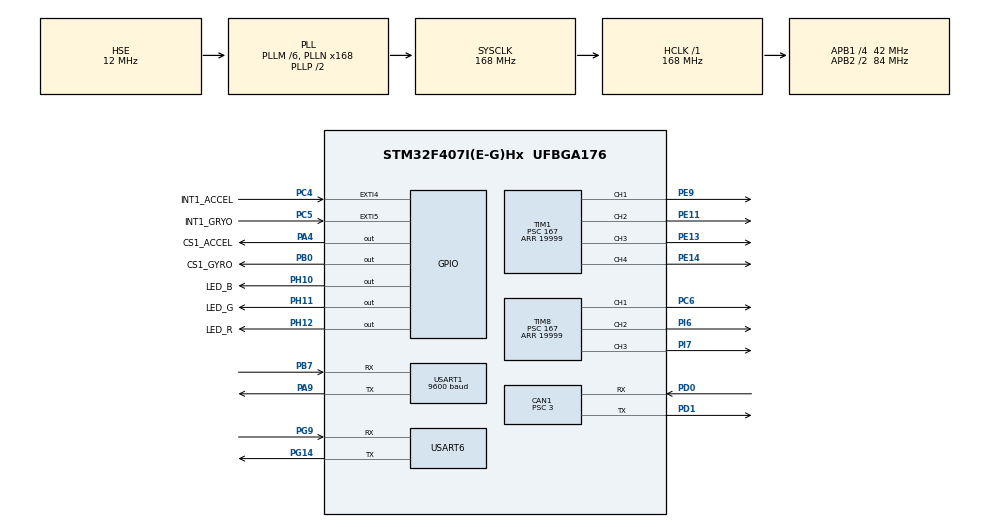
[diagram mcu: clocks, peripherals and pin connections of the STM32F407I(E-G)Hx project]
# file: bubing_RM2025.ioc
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CAN1.BS1=CAN_BS1_10TQ
CAN1.BS2=CAN_BS2_3TQ
CAN1.CalculateBaudRate=1000000
CAN1.CalculateTimeBit=1000
CAN1.CalculateTimeQuantum=71.42857142857143
CAN1.Prescaler=3
Dma.Request0=USART6_TX
Dma.Request1=USART6_RX
Dma.Request2=USART1_RX
Dma.USART1_RX.2.Direction=DMA_PERIPH_TO_MEMORY
Dma.USART1_RX.2.FIFOMode=DMA_FIFOMODE_DISABLE
Dma.USART1_RX.2.Instance=DMA2_Stream2
Dma.USART1_RX.2.MemDataAlignment=DMA_MDATAALIGN_BYTE
Dma.USART1_RX.2.MemInc=DMA_MINC_ENABLE
Dma.USART1_RX.2.Mode=DMA_NORMAL
Dma.USART1_RX.2.PeriphDataAlignment=DMA_PDATAALIGN_BYTE
Dma.USART1_RX.2.PeriphInc=DMA_PINC_DISABLE
Dma.USART1_RX.2.Priority=DMA_PRIORITY_VERY_HIGH
Dma.USART6_RX.1.Direction=DMA_PERIPH_TO_MEMORY
Dma.USART6_RX.1.FIFOMode=DMA_FIFOMODE_DISABLE
Dma.USART6_RX.1.Instance=DMA2_Stream1
Dma.USART6_RX.1.MemDataAlignment=DMA_MDATAALIGN_BYTE
Dma.USART6_RX.1.MemInc=DMA_MINC_ENABLE
Dma.USART6_RX.1.Mode=DMA_CIRCULAR
Dma.USART6_RX.1.PeriphDataAlignment=DMA_PDATAALIGN_BYTE
Dma.USART6_RX.1.PeriphInc=DMA_PINC_DISABLE
Dma.USART6_RX.1.Priority=DMA_PRIORITY_MEDIUM
Dma.USART6_TX.0.Direction=DMA_MEMORY_TO_PERIPH
Dma.USART6_TX.0.FIFOMode=DMA_FIFOMODE_DISABLE
Dma.USART6_TX.0.Instance=DMA2_Stream6
Dma.USART6_TX.0.MemDataAlignment=DMA_MDATAALIGN_BYTE
Dma.USART6_TX.0.MemInc=DMA_MINC_ENABLE
Dma.USART6_TX.0.Mode=DMA_CIRCULAR
Dma.USART6_TX.0.PeriphDataAlignment=DMA_PDATAALIGN_BYTE
Dma.USART6_TX.0.PeriphInc=DMA_PINC_DISABLE
Dma.USART6_TX.0.Priority=DMA_PRIORITY_MEDIUM
Mcu.Family=STM32F4
Mcu.Name=STM32F407I(E-G)Hx
Mcu.Package=UFBGA176
NVIC.CAN1_RX0_IRQn=true\:0\:0\:false\:false\:true\:true\:true\:true
NVIC.CAN1_RX1_IRQn=true\:0\:0\:false\:false\:true\:true\:true\:true
NVIC.CAN1_TX_IRQn=true\:0\:0\:false\:false\:true\:true\:true\:true
NVIC.DMA2_Stream1_IRQn=true\:0\:0\:false\:false\:true\:false\:true\:true
NVIC.DMA2_Stream2_IRQn=true\:0\:0\:false\:false\:true\:false\:true\:true
NVIC.DMA2_Stream6_IRQn=true\:0\:0\:false\:false\:true\:false\:true\:true
NVIC.PriorityGroup=NVIC_PRIORITYGROUP_4
NVIC.TIM7_IRQn=true\:15\:0\:false\:false\:true\:false\:true\:true
NVIC.TIM8_BRK_TIM12_IRQn=true\:0\:0\:false\:false\:true\:true\:true\:true
NVIC.TimeBase=TIM7_IRQn
NVIC.TimeBaseIP=TIM7
NVIC.USART1_IRQn=true\:0\:0\:false\:false\:true\:true\:true\:true
NVIC.USART6_IRQn=true\:0\:0\:false\:false\:true\:true\:true\:true
PA13.Mode=Serial_Wire
PA13.Signal=SYS_JTMS-SWDIO
PA14.Mode=Serial_Wire
PA14.Signal=SYS_JTCK-SWCLK
PA4.GPIO_Label=CS1_ACCEL
PA4.GPIO_PuPd=GPIO_PULLUP
PA4.GPIO_Speed=GPIO_SPEED_FREQ_HIGH
PA4.PinState=GPIO_PIN_SET
PA4.Signal=GPIO_Output
PA9.Mode=Asynchronous
PA9.Signal=USART1_TX
PB0.GPIO_Label=CS1_GYRO
PB0.GPIO_PuPd=GPIO_PULLUP
PB0.GPIO_Speed=GPIO_SPEED_FREQ_HIGH
PB0.PinState=GPIO_PIN_SET
PB0.Signal=GPIO_Output
PB7.Mode=Asynchronous
PB7.Signal=USART1_RX
PC4.GPIO_Label=INT1_ACCEL
PC4.GPIO_PuPd=GPIO_PULLUP
PC4.Signal=GPXTI4
PC5.GPIO_Label=INT1_GRYO
PC5.GPIO_PuPd=GPIO_PULLUP
PC5.Signal=GPXTI5
PC6.Signal=S_TIM8_CH1
PD0.Mode=CAN_Activate
PD0.Signal=CAN1_RX
PD1.Mode=CAN_Activate
PD1.Signal=CAN1_TX
PE11.Signal=S_TIM1_CH2
PE13.Signal=S_TIM1_CH3
PE14.Signal=S_TIM1_CH4
PE9.Signal=S_TIM1_CH1
PG14.Mode=Asynchronous
PG14.Signal=USART6_TX
PG9.Mode=Asynchronous
PG9.Signal=USART6_RX
PH0-OSC_IN.Mode=HSE-External-Oscillator
PH0-OSC_IN.Signal=RCC_OSC_IN
PH1-OSC_OUT.Mode=HSE-External-Oscillator
PH1-OSC_OUT.Signal=RCC_OSC_OUT
PH10.GPIO_Label=LED_B
PH10.Signal=GPIO_Output
PH11.GPIO_Label=LED_G
PH11.Signal=GPIO_Output
PH12.GPIO_Label=LED_R
PH12.Signal=GPIO_Output
PI6.Signal=S_TIM8_CH2
PI7.Signal=S_TIM8_CH3
ProjectManager.HeapSize=0x200
ProjectManager.StackSize=0x400
ProjectManager.TargetToolchain=MDK-ARM V5.32
RCC.48MHZClocksFreq_Value=84000000
RCC.AHBFreq_Value=168000000
RCC.APB1CLKDivider=RCC_HCLK_DIV4
RCC.APB1Freq_Value=42000000
RCC.APB1TimFreq_Value=84000000
RCC.APB2CLKDivider=RCC_HCLK_DIV2
RCC.APB2Freq_Value=84000000
RCC.APB2TimFreq_Value=168000000
RCC.CortexFreq_Value=168000000
RCC.HCLKFreq_Value=168000000
RCC.HSE_VALUE=12000000
RCC.HSI_VALUE=16000000
RCC.LSE_VALUE=32768
RCC.PLLM=6
RCC.PLLN=168
RCC.PLLSourceVirtual=RCC_PLLSOURCE_HSE
RCC.SYSCLKFreq_VALUE=168000000
RCC.SYSCLKSource=RCC_SYSCLKSOURCE_PLLCLK
RCC.VCOOutputFreq_Value=336000000
SH.S_TIM1_CH1.0=TIM1_CH1,PWM Generation1 CH1
SH.S_TIM1_CH2.0=TIM1_CH2,PWM Generation2 CH2
SH.S_TIM1_CH3.0=TIM1_CH3,PWM Generation3 CH3
SH.S_TIM1_CH4.0=TIM1_CH4,PWM Generation4 CH4
SH.S_TIM8_CH1.0=TIM8_CH1,PWM Generation1 CH1
SH.S_TIM8_CH2.0=TIM8_CH2,PWM Generation2 CH2
SH.S_TIM8_CH3.0=TIM8_CH3,PWM Generation3 CH3
TIM1.Channel-PWM\ Generation1\ CH1=TIM_CHANNEL_1
TIM1.Channel-PWM\ Generation2\ CH2=TIM_CHANNEL_2
TIM1.Channel-PWM\ Generation3\ CH3=TIM_CHANNEL_3
TIM1.Channel-PWM\ Generation4\ CH4=TIM_CHANNEL_4
TIM1.Period=19999
TIM1.Prescaler=167
TIM1.Pulse-PWM\ Generation1\ CH1=2000
TIM1.Pulse-PWM\ Generation2\ CH2=2000
TIM1.Pulse-PWM\ Generation3\ CH3=2000
TIM1.Pulse-PWM\ Generation4\ CH4=2000
TIM12.Period=999
TIM12.Prescaler=83
TIM8.Channel-PWM\ Generation1\ CH1=TIM_CHANNEL_1
TIM8.Channel-PWM\ Generation2\ CH2=TIM_CHANNEL_2
TIM8.Channel-PWM\ Generation3\ CH3=TIM_CHANNEL_3
TIM8.Period=19999
TIM8.Prescaler=167
TIM8.Pulse-PWM\ Generation1\ CH1=2000
TIM8.Pulse-PWM\ Generation2\ CH2=2000
TIM8.Pulse-PWM\ Generation3\ CH3=2000
USART1.BaudRate=9600
USART1.VirtualMode=VM_ASYNC
USART6.VirtualMode=VM_ASYNC
VP_SYS_VS_tim7.Mode=TIM7
VP_TIM12_VS_ClockSourceINT.Mode=Internal
VP_TIM1_VS_ClockSourceINT.Mode=Internal
VP_TIM8_VS_ClockSourceINT.Mode=Internal
board=custom

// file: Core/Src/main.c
/* USER CODE BEGIN Header */
/**
  ******************************************************************************
  * @file           : main.c
  * @brief          : Main program body
  ******************************************************************************
  * @attention
  *
  * Copyright (c) 2025 STMicroelectronics.
  * All rights reserved.
  *
  * This software is licensed under terms that can be found in the LICENSE file
  * in the root directory of this software component.
  * If no LICENSE file comes with this software, it is provided AS-IS.
  *
  ******************************************************************************
  */
/* USER CODE END Header */
#include "main.h"
#include "can.h"
#include "dma.h"
#include "tim.h"
#include "usart.h"
#include "gpio.h"

/* USER CODE BEGIN Includes */
#include "RobStride.h"
#include "uart_printf.h"
/* USER CODE END Includes */

/* USER CODE BEGIN PTD */

//备份例程

//    switch(mode)
//    {
//        // ===== 普通模式接口 =====
//        case 0: // 使能（普通模式）
//            RobStride_01.Enable_Motor();
//		HAL_Delay(500);
//            break;
//        case 1: // 失能（普通模式）
//            RobStride_01.Disenable_Motor(1);
//            break;
//        case 2: // 运控模式
//            HAL_Delay(5);
//            RobStride_01.RobStride_Motor_move_control(5, 0, 0, 0.0, 0.0);
//            break;
//        case 3: // PP位置模式
//            RobStride_01.RobStride_Motor_Pos_control(2.0, 0);
//						HAL_Delay(5);
//            break;
//				case 4:	//CSP位置模式
//						RobStride_01.RobStride_Motor_CSP_control(2.0, 2.0);
//						HAL_Delay(5);
//						break;
//        case 5: // 速度模式
//            RobStride_01.RobStride_Motor_Speed_control(3.5, 5.0);
//						HAL_Delay(5);
//            break;
//        case 6: // 电流模式
//            HAL_Delay(5);
//            RobStride_01.RobStride_Motor_current_control(1.2);
//            break;
//        case 7: // 设置机械零点
//            RobStride_01.Set_ZeroPos();
//            break;
//        case 8: // 读取参数
//            RobStride_01.Get_RobStride_Motor_parameter(0x7014);
//            break;
//        case 9: // 设置参数
//            RobStride_01.Set_RobStride_Motor_parameter(0x7014, 0.35f, Set_parameter);
//            break;
//        case 10: // 协议切换（如切MIT协议/Canopen/私有协议）
//            RobStride_01.RobStride_Motor_MotorModeSet(0x02); // 0x02=MIT
//            break;

//        // ===== MIT模式接口（只能用MIT专用函数！） =====
//        case 11: // MIT 使能
//            RobStride_01.RobStride_Motor_MIT_Enable();
//            break;
//        case 12: // MIT 失能
//            RobStride_01.RobStride_Motor_MIT_Disable();
//            break;
//        case 13: // MIT 综合控制
//						RobStride_01.RobStride_Motor_MIT_SetMotorType(0x01);
//            RobStride_01.RobStride_Motor_MIT_Enable();
//            HAL_Delay(5);
//            RobStride_01.RobStride_Motor_MIT_Control(0, 0, 0, 0, -1.0f);
//            break;
//        case 14: // MIT 位置控制
//						RobStride_01.RobStride_Motor_MIT_SetMotorType(0x01);
//						RobStride_01.RobStride_Motor_MIT_Enable();
//            HAL_Delay(5);
//            RobStride_01.RobStride_Motor_MIT_PositionControl(1.57f, 3.0f);
//            break;
//        case 15: // MIT 速度控制
//						RobStride_01.RobStride_Motor_MIT_SetMotorType(0x02);
//						RobStride_01.RobStride_Motor_MIT_Enable();
//            HAL_Delay(5);
//            RobStride_01.RobStride_Motor_MIT_SpeedControl(4.5f, 3.2f);
//            break;
//        case 16: // MIT 零点设置（运行前需保证 MIT_Type != positionControl）
//            RobStride_01.RobStride_Motor_MIT_SetZeroPos();
//            break;
//        case 17: // MIT 清错
//            RobStride_01.RobStride_Motor_MIT_ClearOrCheckError(0x01);
//            break;
//        case 18: // MIT 设置电机运行模式
//            RobStride_01.RobStride_Motor_MIT_SetMotorType(0x01);
//            break;
//        case 19: // MIT 设置电机ID
//            RobStride_01.RobStride_Motor_MIT_SetMotorId(0x05);
//            break;
//        case 20: //主动上报
//            RobStride_01.RobStride_Motor_ProactiveEscalationSet(0x00);
//            break;
//        case 21: // 波特率修改
//            RobStride_01.RobStride_Motor_BaudRateChange(0x01);
//            break;
//        case 22: // MIT 参数保存
//            RobStride_01.RobStride_Motor_MotorDataSave();
//            break;
//				case 23: // MIT 协议切换（如切MIT协议/Canopen/私有协议）
//						RobStride_01.RobStride_Motor_MIT_MotorModeSet(0x00);
//						break;

//        default:
//            break;
//    }
//
//		HAL_Delay(50);
//	mode = 6;

/* USER CODE END PTD */

void SystemClock_Config(void);
/* USER CODE BEGIN PFP */
CAN_FilterTypeDef CAN_FilterStrue;
CAN_TxHeaderTypeDef CAN_TxHeaderStrue;
CAN_RxHeaderTypeDef CAN_RxHeaderStrue;
uint8_t pRxdata[8], pTxdata[8];
RobStride_Motor RobStride_01(0x07, false);

uint8_t mode = 0;
uint8_t init_state = 0 ;
/* USER CODE END PFP */

int main(void)
{

  /* MCU Configuration--------------------------------------------------------*/

  /* Reset of all peripherals, Initializes the Flash interface and the Systick. */
  HAL_Init();

  /* Configure the system clock */
  SystemClock_Config();

  /* Initialize all configured peripherals */
  MX_GPIO_Init();
  MX_DMA_Init();
  MX_USART6_UART_Init();
  MX_CAN1_Init();
  MX_USART1_UART_Init();
  MX_TIM1_Init();
  MX_TIM8_Init();
  MX_TIM12_Init();
  /* USER CODE BEGIN 2 */
  CAN_FilterStrue.FilterBank = 0;
  CAN_FilterStrue.FilterMode = CAN_FILTERMODE_IDMASK;
  CAN_FilterStrue.FilterScale = CAN_FILTERSCALE_16BIT;
  CAN_FilterStrue.FilterIdHigh = 0;
	CAN_FilterStrue.FilterIdLow = 0;
	CAN_FilterStrue.FilterActivation = ENABLE;
	CAN_FilterStrue.FilterFIFOAssignment = CAN_RX_FIFO0;

	HAL_Delay(2000);

	HAL_CAN_ConfigFilter(&hcan1, &CAN_FilterStrue);
  HAL_CAN_Start(&hcan1); //鍚姩CAN
  HAL_CAN_ActivateNotification(&hcan1, CAN_IT_RX_FIFO0_MSG_PENDING);
  HAL_TIM_Base_Start(&htim1);
  HAL_TIM_PWM_Start(&htim1, TIM_CHANNEL_1);
  HAL_TIM_PWM_Start(&htim1, TIM_CHANNEL_2);
  HAL_TIM_PWM_Start(&htim1, TIM_CHANNEL_3);
  HAL_TIM_PWM_Start(&htim1, TIM_CHANNEL_1);
  HAL_TIM_Base_Start(&htim8);
  HAL_TIM_PWM_Start(&htim8, TIM_CHANNEL_1);
  HAL_TIM_PWM_Start(&htim8, TIM_CHANNEL_2);
  HAL_TIM_PWM_Start(&htim8, TIM_CHANNEL_3);
  HAL_Delay(1000);

  RobStride_01.RobStride_Motor_MotorModeSet(0x02);

  HAL_Delay(1000);
  RobStride_01.RobStride_Motor_ProactiveEscalationSet(0x01);

  HAL_Delay(1000);
  RobStride_01.RobStride_Motor_MIT_Disable();

  HAL_Delay(1000);
  RobStride_01.RobStride_Motor_MIT_SetZeroPos();

  HAL_Delay(1000);

  RobStride_01.RobStride_Motor_MIT_Enable();

  /* USER CODE END 2 */

  /* Infinite loop */
  /* USER CODE BEGIN WHILE */
  while (1)
  {

	  float motor1_angle = RobStride_01.Pos_Info.Angle;

	  usart6_printf("%f \r\n",motor1_angle);

	  RobStride_01.RobStride_Motor_MIT_Control(0, 0, 0, 0, 0.0f);
	  HAL_Delay(10);

//	  RobStride_01.Enable_Motor();

//	  HAL_Delay(2000);

//	  RobStride_01.RobStride_Motor_MIT_Disable();

//	  RobStride_01.Disenable_Motor(1);

//	  HAL_Delay(2000);

	  HAL_Delay(1);

	//步态

    /* USER CODE END WHILE */

  }
}

void SystemClock_Config(void)
{
  RCC_OscInitTypeDef RCC_OscInitStruct = {0};
  RCC_ClkInitTypeDef RCC_ClkInitStruct = {0};

  /** Configure the main internal regulator output voltage
  */
  __HAL_RCC_PWR_CLK_ENABLE();
  __HAL_PWR_VOLTAGESCALING_CONFIG(PWR_REGULATOR_VOLTAGE_SCALE1);

  /** Initializes the RCC Oscillators according to the specified parameters
  * in the RCC_OscInitTypeDef structure.
  */
  RCC_OscInitStruct.OscillatorType = RCC_OSCILLATORTYPE_HSE;
  RCC_OscInitStruct.HSEState = RCC_HSE_ON;
  RCC_OscInitStruct.PLL.PLLState = RCC_PLL_ON;
  RCC_OscInitStruct.PLL.PLLSource = RCC_PLLSOURCE_HSE;
  RCC_OscInitStruct.PLL.PLLM = 6;
  RCC_OscInitStruct.PLL.PLLN = 168;
  RCC_OscInitStruct.PLL.PLLP = RCC_PLLP_DIV2;
  RCC_OscInitStruct.PLL.PLLQ = 4;
  if (HAL_RCC_OscConfig(&RCC_OscInitStruct) != HAL_OK)
  {
    Error_Handler();
  }

  /** Initializes the CPU, AHB and APB buses clocks
  */
  RCC_ClkInitStruct.ClockType = RCC_CLOCKTYPE_HCLK|RCC_CLOCKTYPE_SYSCLK
                              |RCC_CLOCKTYPE_PCLK1|RCC_CLOCKTYPE_PCLK2;
  RCC_ClkInitStruct.SYSCLKSource = RCC_SYSCLKSOURCE_PLLCLK;
  RCC_ClkInitStruct.AHBCLKDivider = RCC_SYSCLK_DIV1;
  RCC_ClkInitStruct.APB1CLKDivider = RCC_HCLK_DIV4;
  RCC_ClkInitStruct.APB2CLKDivider = RCC_HCLK_DIV2;

  if (HAL_RCC_ClockConfig(&RCC_ClkInitStruct, FLASH_LATENCY_5) != HAL_OK)
  {
    Error_Handler();
  }
}

/* USER CODE BEGIN 4 */
CAN_RxHeaderTypeDef RXHeader;
uint8_t RxData[8];
void HAL_CAN_RxFifo0MsgPendingCallback(CAN_HandleTypeDef *hcan)
{

	if(HAL_CAN_GetRxMessage(hcan,CAN_RX_FIFO0,&RXHeader,RxData) == HAL_OK)
	{
		if (RXHeader.IDE == CAN_ID_EXT)
		{
			if (RxData[0] == 0x07)
            {
                RobStride_01.RobStride_Motor_Analysis(RxData, RXHeader.ExtId);
            }

		}
		else
		{
			if (RxData[0] == 0x07)
            {
                RobStride_01.RobStride_Motor_Analysis(RxData, RXHeader.StdId);
            }

		}
	}
}

/* USER CODE END 4 */

void HAL_TIM_PeriodElapsedCallback(TIM_HandleTypeDef *htim)
{
  /* USER CODE BEGIN Callback 0 */
	if(htim == &htim12)
	{
		float motor1_angle = RobStride_01.Pos_Info.Angle;
		float motor1_speed = RobStride_01.Pos_Info.Speed;
		RobStride_01.RobStride_Motor_MIT_Control(0, 0, 0, 0, -0.1f);
		usart6_printf("%f,%f \r\n",motor1_angle,motor1_speed);
	}

  /* USER CODE END Callback 0 */
  if (htim->Instance == TIM7) {
    HAL_IncTick();
  }
}

void Error_Handler(void)
{
  __disable_irq();
  while (1)
  {
  }
}
